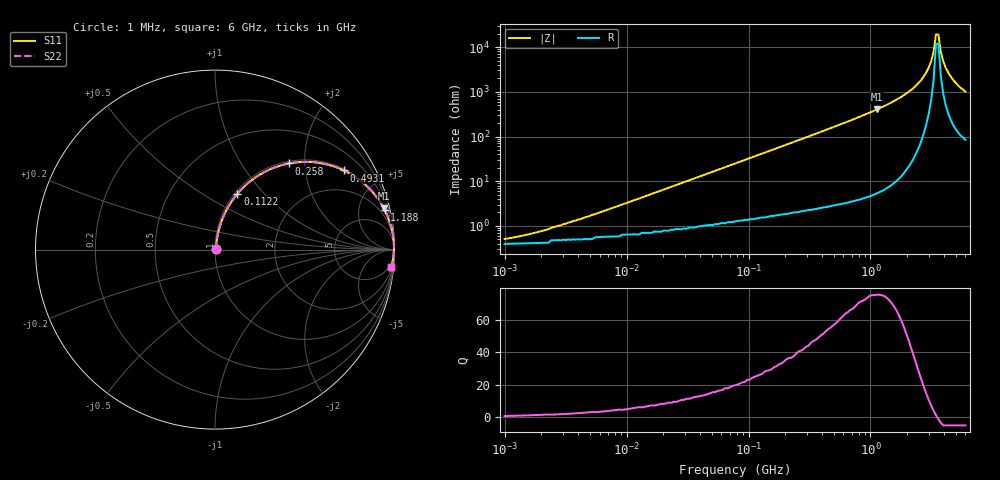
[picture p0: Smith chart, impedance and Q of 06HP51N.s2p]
# MHz S MA R 50
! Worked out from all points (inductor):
!   189 points, 1 MHz to 6 GHz, reference 50 ohm
!   read as one part in series: L = 51 nH near 4.823 MHz
!   highest Q = 75.5 at 1.134 GHz (marker M1), where L = 56.8 nH
!   self-resonance near 3.443 GHz
!   S11 on the Smith chart (normalised r, x): 1 MHz: 1.01, +0.01; 112.2 MHz: 1.03, +0.72; 258 MHz: 1.04, +1.66; 493.1 MHz: 1.06, +3.22; 1.188 GHz: 1.12, +8.59; 6 GHz: 3, -20
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1  0.005028 39.2  0.996 -0.2  0.996 -0.2  0.005028 39.2
2.899  0.01 62.8  0.995 -0.5  0.995 -0.5  0.01 62.8
4.396  0.015 69.3  0.995 -0.8  0.995 -0.8  0.015 69.3
18.454  0.059 79.4  0.991 -3.4  0.991 -3.4  0.059 79.4
77.46  0.239 73.3  0.959 -13.8  0.959 -13.8  0.239 73.3
112.163  0.335 68.2  0.929 -19.5  0.929 -19.5  0.335 68.2
257.98  0.632 49.4  0.76 -39.2  0.76 -39.2  0.632 49.4
340.538  0.733 41.7  0.665 -47.1  0.665 -47.1  0.733 41.7
493.103  0.843 31.5  0.523 -57.5  0.523 -57.5  0.843 31.5
1134.163  0.968 13.8  0.239 -75.4  0.239 -75.4  0.968 13.8
1187.879  0.971 13.1  0.226 -76.2  0.226 -76.2  0.971 13.1
1429.415  0.981 10.3  0.179 -78.9  0.179 -78.9  0.981 10.3
2167.84  0.994 5.1  0.089 -83.5  0.089 -83.5  0.994 5.1
2732.184  0.997 2.6  0.045 -84.4  0.045 -84.4  0.997 2.6
3139.06  0.997 1.2  0.021 -81.1  0.021 -81.1  0.997 1.2
3287.73  0.997 0.7  0.013 -75.8  0.013 -75.8  0.997 0.7
3443.441  0.997 0.2  0.005201 -52.6  0.005201 -52.6  0.997 0.2
3606.527  0.997 -0.2  0.00523 49.9  0.00523 49.9  0.997 -0.2
3777.337  0.996 -0.7  0.013 72.8  0.013 72.8  0.996 -0.7
4143.61  0.995 -1.6  0.029 80.0  0.029 80.0  0.995 -1.6
4760.675  0.993 -3.1  0.054 81.3  0.054 81.3  0.993 -3.1
6000  0.987 -5.6  0.097 79.7  0.097 79.7  0.987 -5.6
